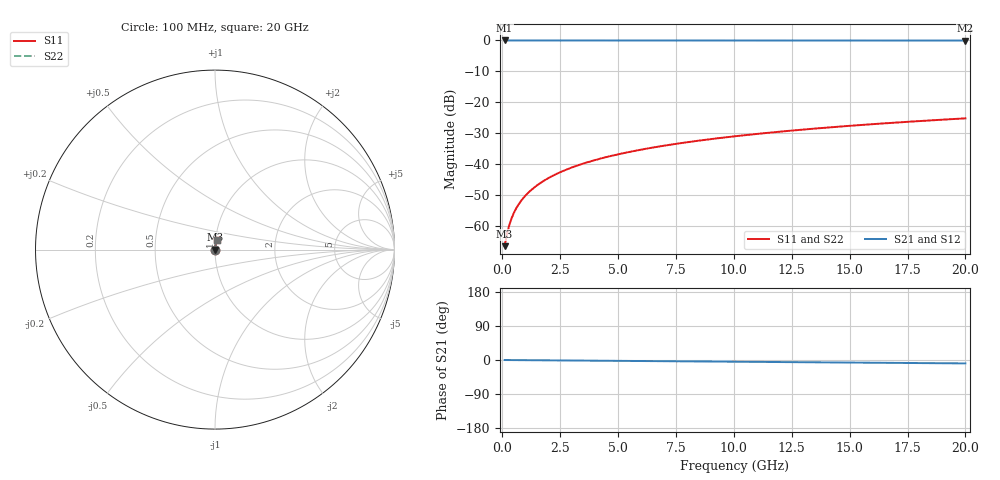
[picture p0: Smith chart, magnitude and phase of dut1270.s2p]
! Touchstone file exported from HFSS 2026.1.0
!  File:  C:/ffzhzh/LocalFiles/Ansys_Project_Files/temp_train_TSV_1270_1783194101_22436.aedt
!  Generated:  03:43:36 AM Jul  5, 2026
!  Design:  TSV
!  Project:  temp_train_TSV_1270_1783194101_22436
! Variables:
!  h_bsmrdl = 2um
!  h_ox = 20um
!  h_rdl = 5um
!  h_sub = 85um
!  h_tmrdl = 5um
!  h_tsv = 85um
!  h_via = 3um
!  l_bsmrdl = 300um
!  l_sub = 411.16um
!  l_tmrdl = 200um
!  m_sub = 200um
!  pitch = 37.86um
!  r_tsv = 5.58um
!  s_tmrdl = 10um
!  w_bsmrdl = 18um
!  w_sub = 500um
!  w_tmrdl = 12um
!  x_tsv_center1 = 206um
!  x_tsv_center2 = 524um
!  x_tsv_center3 = 736um
!  x_tsv_center4 = 1054um
!  x_tsv_center5 = 1266um
!  x_tsv_center6 = 1584um
# GHz S MA R 50.000000
! Terminal data exported
! Port[1] = TSV1_1_T1
! Port[2] = TSV1_1_T2
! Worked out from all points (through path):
!   200 points, 100 MHz to 20 GHz, reference 50 ohm
!   highest |S21| = 0.00 dB at 100 MHz (marker M1); lowest = 0.0 dB at 20 GHz (marker M2)
!   group delay of S21, straight-line fit = 1.24 ps
!   lowest |S11| = -66.5 dB at 100 MHz (marker M3), VSWR 1.00, Z = 50 + j0.0323 ohm
!   |S11| at or under -10 dB: start of sweep to end of sweep
!   |S22| runs from -66.5 to -25.2 dB; largest |S21 - S12| = 2.4e-15
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0.1  0.0004732 43.0  0.9997 -0.0  0.9997 -0.0  0.0004732 43.0
! Gamma 0 0 0 0
! Port Impedance 50 0 50 0
0.2  0.0007355 60.9  0.9996 -0.1  0.9996 -0.1  0.0007355 60.9
0.3  0.00103 68.7  0.9996 -0.1  0.9996 -0.1  0.00103 68.7
0.4  0.001331 72.7  0.9996 -0.2  0.9996 -0.2  0.001331 72.7
0.5  0.001632 75.2  0.9996 -0.2  0.9996 -0.2  0.001632 75.2
0.7  0.002228 77.9  0.9995 -0.3  0.9995 -0.3  0.002228 77.9
0.8  0.002522 78.8  0.9995 -0.4  0.9995 -0.4  0.002522 78.8
1  0.003106 80.0  0.9995 -0.5  0.9995 -0.5  0.003106 80.0
1.2  0.003685 80.9  0.9994 -0.6  0.9994 -0.6  0.003685 80.9
1.4  0.004262 81.6  0.9994 -0.6  0.9994 -0.6  0.004262 81.6
1.7  0.005124 82.3  0.9994 -0.8  0.9994 -0.8  0.005124 82.3
2  0.005984 82.7  0.9993 -0.9  0.9993 -0.9  0.005984 82.7
2.7  0.007981 83.3  0.9992 -1.2  0.9992 -1.2  0.007981 83.3
3.5  0.01024 83.6  0.9991 -1.6  0.9991 -1.6  0.01024 83.6
4.2  0.01221 83.6  0.999 -1.9  0.999 -1.9  0.01221 83.6
5  0.01444 83.6  0.9989 -2.3  0.9989 -2.3  0.01444 83.6
6.8  0.0194 83.3  0.9986 -3.1  0.9986 -3.1  0.0194 83.3
8.3  0.02351 82.9  0.9984 -3.8  0.9984 -3.8  0.02351 82.9
10.1  0.02842 82.4  0.9981 -4.6  0.9981 -4.6  0.02842 82.4
13.4  0.03737 81.4  0.9976 -6.0  0.9976 -6.0  0.03737 81.4
16.7  0.04626 80.1  0.997 -7.5  0.997 -7.5  0.04626 80.1
20  0.05506 78.8  0.9964 -9.0  0.9964 -9.0  0.05506 78.8
